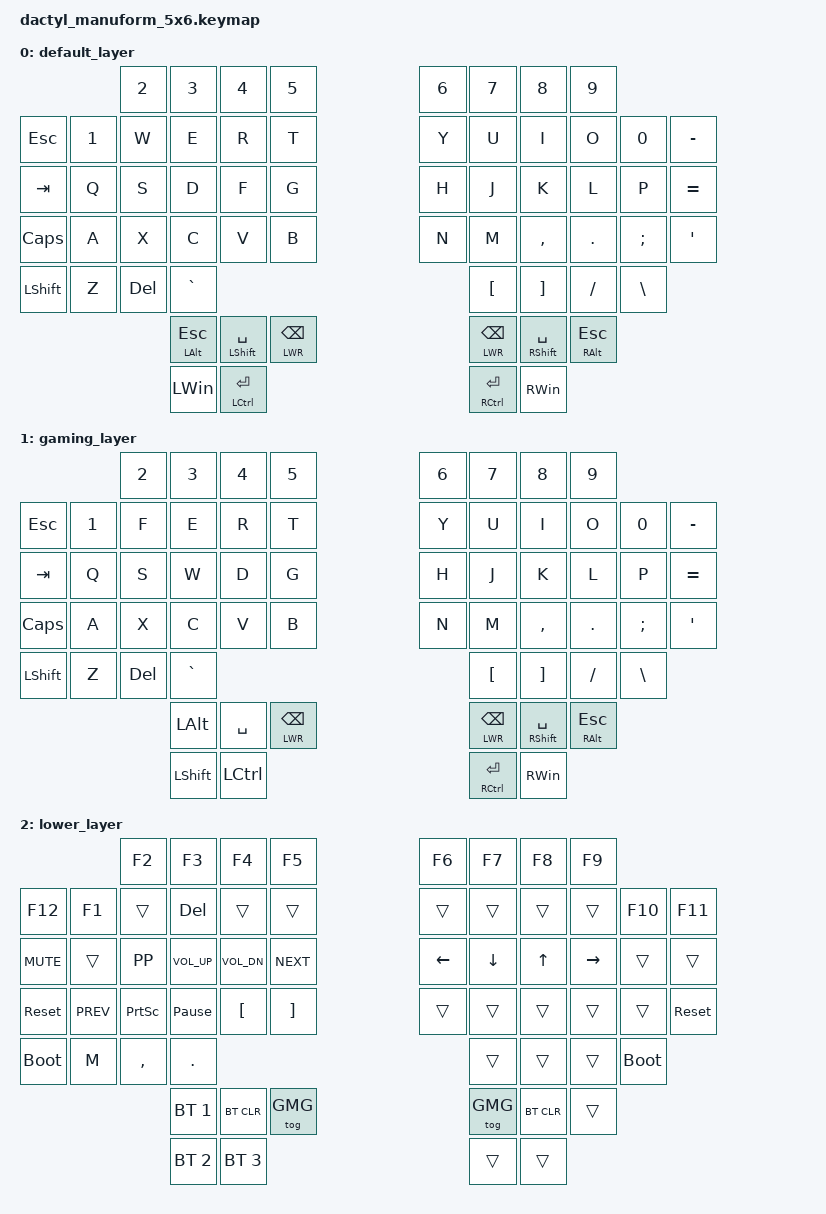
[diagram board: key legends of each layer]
#include <behaviors.dtsi>
#include <dt-bindings/zmk/keys.h>
#include <dt-bindings/zmk/bt.h>
#include <dt-bindings/zmk/outputs.h>

#define DEFAULT 0
#define GMG 1
#define LWR 2

&mt {
    // 1. Set the timeout (ms)
    tapping-term-ms = <200>;

    // 2. Prioritize the Tap logic for fast typing
    flavor = "tap-preferred";

    // 3. (Optional) Allow repeating space by tapping quickly twice
    quick-tap-ms = <50>;
};

/ {
    keymap {
        compatible = "zmk,keymap";

        default_layer {
            bindings = <
                                  &kp N2 &kp N3    &kp N4    &kp N5                        &kp N6   &kp N7   &kp N8     &kp N9
                &kp ESC    &kp N1 &kp W  &kp E     &kp R     &kp T                         &kp Y    &kp U    &kp I      &kp O   &kp N0   &kp MINUS
                &kp TAB    &kp Q  &kp S  &kp D     &kp F     &kp G                         &kp H    &kp J    &kp K      &kp L   &kp P    &kp EQUAL
                &kp CAPS   &kp A  &kp X  &kp C     &kp V     &kp B                         &kp N    &kp M    &kp COMMA  &kp DOT &kp SEMI &kp SQT
                &kp LSHIFT &kp Z &kp DEL &kp GRAVE                                                  &kp LBKT &kp RBKT  &kp FSLH &kp BSLH
                                         &mt LALT ESC &mt LSHIFT SPACE &lt LWR BSPC     &lt LWR BSPC &mt RSHIFT SPACE &mt RALT ESC
                                              &kp LWIN &mt LCTRL ENTER                        &mt RCTRL ENTER &kp RWIN
            >;
        };

        gaming_layer {
            bindings = <
                                  &kp N2 &kp N3    &kp N4    &kp N5                        &kp N6   &kp N7   &kp N8     &kp N9
                &kp ESC    &kp N1 &kp F  &kp E     &kp R     &kp T                         &kp Y    &kp U    &kp I      &kp O   &kp N0   &kp MINUS
                &kp TAB    &kp Q  &kp S  &kp W     &kp D     &kp G                         &kp H    &kp J    &kp K      &kp L   &kp P    &kp EQUAL
                &kp CAPS   &kp A  &kp X  &kp C     &kp V     &kp B                         &kp N    &kp M    &kp COMMA  &kp DOT &kp SEMI &kp SQT
                &kp LSHIFT &kp Z &kp DEL &kp GRAVE                                                  &kp LBKT &kp RBKT  &kp FSLH &kp BSLH
                                         &kp LALT &kp SPACE &lt LWR BSPC                 &lt LWR BSPC &mt RSHIFT SPACE &mt RALT ESC
                                              &kp LSHIFT &kp LCTRL                        &mt RCTRL ENTER &kp RWIN
            >;
        };


        lower_layer {
            bindings = <
                                    &kp F2       &kp F3       &kp F4  &kp F5              &kp F6 &kp F7   &kp F8   &kp F9 
                &kp F12     &kp F1  &trans       &kp DEL       &trans  &trans              &trans &trans   &trans   &trans &kp F10   &kp F11
                &kp K_MUTE &trans &kp K_PP &kp K_VOL_UP &kp K_VOL_DN &kp K_NEXT           &kp LEFT &kp DOWN &kp UP &kp RIGHT &trans &trans 
                &sys_reset  &kp K_PREV &kp PSCRN &kp PAUSE_BREAK  &kp LBKT &kp RBKT       &trans &trans   &trans   &trans &trans    &sys_reset
                &bootloader &kp M  &kp COMMA  &kp DOT                                      &trans   &trans &trans    &bootloader
                                                 &bt BT_SEL 1  &bt BT_CLR &tog GMG                  &tog GMG &bt BT_CLR   &trans
                                                         &bt BT_SEL 2 &bt BT_SEL 3                    &trans &trans
            >;
        };
    };
};
